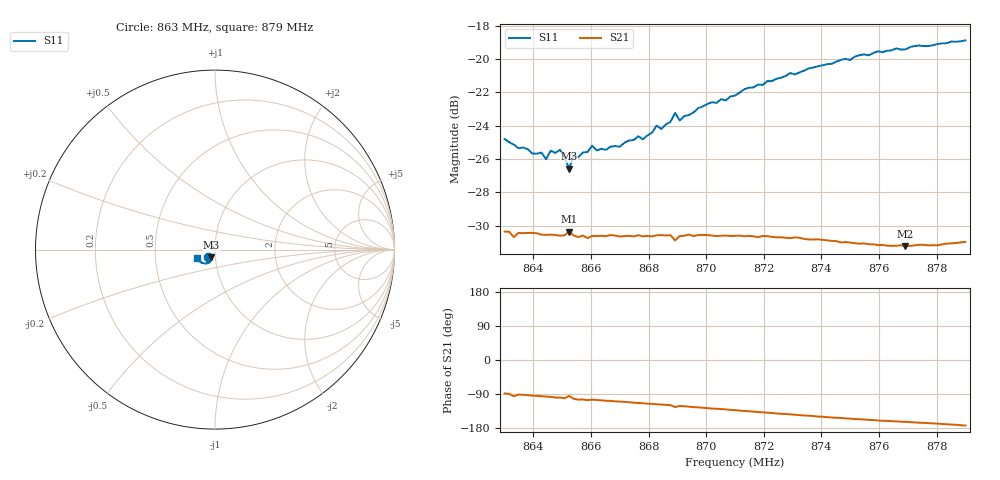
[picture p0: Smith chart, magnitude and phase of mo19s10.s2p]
# HZ S RI R 50
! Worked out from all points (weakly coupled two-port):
!   101 points, 863 MHz to 879 MHz, reference 50 ohm
!   highest |S21| = -30.35 dB at 865.24 MHz (marker M1); lowest = -31.2 dB at 876.92 MHz (marker M2)
!   lowest |S11| = -26.6 dB at 865.24 MHz (marker M3), VSWR 1.10, Z = 47.9 - j4.07 ohm
!   |S11| at or under -10 dB: start of sweep to end of sweep
!   S12 and S22 are empty: the file has one direction only
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8.63e8  -0.0415 -0.0399  0.000916 -0.0304  0 0  0 0
8.6332e8  -0.0383 -0.0401  -0.00302 -0.0291  0 0  0 0
8.6444e8  -0.0305 -0.0397  -0.00337 -0.0295  0 0  0 0
8.646e8  -0.0321 -0.0423  -0.00377 -0.0295  0 0  0 0
8.6492e8  -0.0319 -0.0429  -0.00466 -0.0292  0 0  0 0
8.6524e8  -0.0201 -0.0424  -0.00264 -0.0303  0 0  0 0
8.654e8  -0.0273 -0.0437  -0.00632 -0.0289  0 0  0 0
8.6572e8  -0.0258 -0.0457  -0.00722 -0.0287  0 0  0 0
8.6604e8  -0.0283 -0.0471  -0.0074 -0.0285  0 0  0 0
8.662e8  -0.0272 -0.0457  -0.00791 -0.0284  0 0  0 0
8.67e8  -0.023 -0.0495  -0.00992 -0.0276  0 0  0 0
8.6764e8  -0.0232 -0.0539  -0.0117 -0.0272  0 0  0 0
8.678e8  -0.0225 -0.0529  -0.012 -0.0268  0 0  0 0
8.6828e8  -0.0235 -0.0587  -0.0134 -0.0264  0 0  0 0
8.6844e8  -0.0225 -0.0575  -0.0137 -0.0263  0 0  0 0
8.6892e8  -0.029 -0.0625  -0.0161 -0.0236  0 0  0 0
8.6908e8  -0.0245 -0.0607  -0.0153 -0.0252  0 0  0 0
8.71e8  -0.0326 -0.0706  -0.0199 -0.0218  0 0  0 0
8.7372e8  -0.0542 -0.0773  -0.0244 -0.0153  0 0  0 0
8.7644e8  -0.0805 -0.0693  -0.0261 -0.00874  0 0  0 0
8.7692e8  -0.0844 -0.0656  -0.0263 -0.00794  0 0  0 0
8.79e8  -0.1026 -0.0492  -0.0281 -0.00349  0 0  0 0
